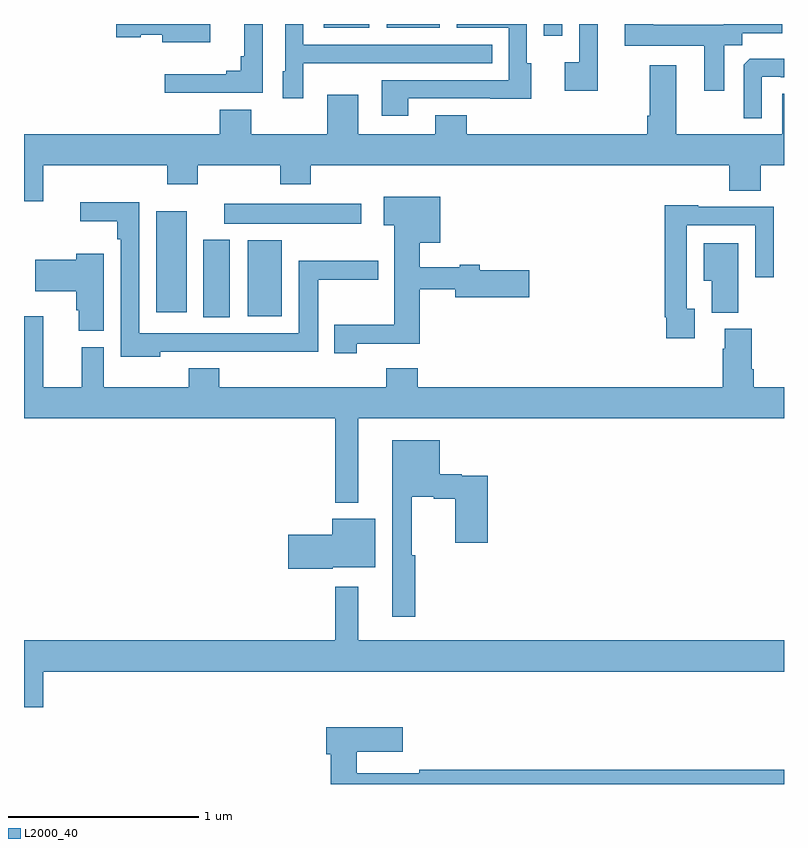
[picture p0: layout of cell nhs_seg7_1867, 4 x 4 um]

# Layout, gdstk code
import gdstk
lib = gdstk.Library(unit=1e-6, precision=1e-09)
def R(c, l, rs):  # rectangles x0, y0, x1, y1
    for r in rs: c.add(gdstk.rectangle(r[:2], r[2:], *l))
def P(c, l, *ps):  # polygons
    for p in ps: c.add(gdstk.Polygon(p, *l))
L2000_40 = (2000, 40)

nhs_seg7_1867 = lib.new_cell('nhs_seg7_1867')
R(nhs_seg7_1867, L2000_40, [(237.944,1026.457,238.084,1026.865), (238.178,1026.461,238.357,1026.862), (237.695,1026.483,237.856,1027.015), (238.053,1026.95,238.774,1027.054), (239.736,1027.938,239.832,1028), (238.577,1027.979,238.816,1028), (238.91,1027.979,239.188,1028)])
P(nhs_seg7_1867, L2000_40, [(237.979,1028),(237.486,1028),(237.486,1027.93),(237.615,1027.93),(237.615,1027.943),(237.728,1027.943),(237.728,1027.904),(237.979,1027.904)],
  [(238.47,1027.793),(238.787,1027.793),(238.787,1027.794),(239.465,1027.794),(239.465,1027.89),(238.47,1027.89),(238.47,1028),(238.374,1028),(238.374,1027.752),(238.361,1027.752),(238.361,1027.608),(238.47,1027.608)],
  [(240.685,1027.888),(240.78,1027.888),(240.78,1027.952),(240.991,1027.952),(240.991,1028),(240.684,1028),(240.684,1027.996),(240.313,1027.996),(240.313,1028),(240.161,1028),(240.161,1027.886),(240.581,1027.886),(240.581,1027.65),(240.685,1027.65)],
  [(238.257,1028),(238.16,1028),(238.16,1027.831),(238.141,1027.831),(238.141,1027.754),(238.064,1027.754),(238.064,1027.735),(237.741,1027.735),(237.741,1027.638),(238.257,1027.638)],
  [(239.023,1027.608),(239.453,1027.608),(239.453,1027.607),(239.671,1027.607),(239.671,1027.794),(239.646,1027.794),(239.646,1028),(239.277,1028),(239.277,1027.98),(239.55,1027.98),(239.55,1027.704),(238.883,1027.704),(238.883,1027.518),(239.023,1027.518)],
  [(240.019,1028),(239.922,1028),(239.922,1027.798),(239.847,1027.798),(239.847,1027.65),(240.019,1027.65)],
  [(240.882,1027.722),(240.982,1027.722),(240.982,1027.719),(241,1027.719),(241,1027.817),(240.821,1027.817),(240.789,1027.785),(240.789,1027.505),(240.882,1027.505)],
  [(237.1,1027.256),(237.755,1027.256),(237.755,1027.157),(237.915,1027.157),(237.915,1027.256),(238.348,1027.256),(238.348,1027.157),(238.508,1027.157),(238.508,1027.256),(240.713,1027.256),(240.713,1027.123),(240.878,1027.123),(240.878,1027.256),(241,1027.256),(241,1027.634),(240.99,1027.634),(240.99,1027.42),(240.433,1027.42),(240.433,1027.783),(240.293,1027.783),(240.293,1027.516),(240.281,1027.516),(240.281,1027.42),(239.329,1027.42),(239.329,1027.519),(239.165,1027.519),(239.165,1027.42),(238.759,1027.42),(238.759,1027.627),(238.595,1027.627),(238.595,1027.42),(238.195,1027.42),(238.195,1027.549),(238.031,1027.549),(238.031,1027.42),(237,1027.42),(237,1027.068),(237.1,1027.068)],
  [(238.752,1026.317),(239.084,1026.317),(239.084,1026.604),(239.27,1026.604),(239.27,1026.562),(239.659,1026.562),(239.659,1026.704),(239.398,1026.704),(239.398,1026.733),(239.294,1026.733),(239.294,1026.72),(239.084,1026.72),(239.084,1026.848),(239.191,1026.848),(239.191,1027.09),(238.893,1027.09),(238.893,1026.941),(238.949,1026.941),(238.949,1026.417),(238.634,1026.417),(238.634,1026.267),(238.752,1026.267)],
  [(237.717,1026.276),(238.111,1026.276),(238.111,1026.275),(238.549,1026.275),(238.549,1026.655),(238.864,1026.655),(238.864,1026.755),(238.445,1026.755),(238.445,1026.372),(237.606,1026.372),(237.606,1027.061),(237.297,1027.061),(237.297,1026.962),(237.49,1026.962),(237.49,1026.866),(237.51,1026.866),(237.51,1026.248),(237.717,1026.248)],
  [(240.529,1026.501),(240.489,1026.501),(240.489,1026.942),(240.849,1026.942),(240.849,1026.666),(240.945,1026.666),(240.945,1027.038),(240.549,1027.038),(240.549,1027.045),(240.373,1027.045),(240.373,1026.457),(240.381,1026.457),(240.381,1026.345),(240.529,1026.345)],
  [(240.76,1026.847),(240.578,1026.847),(240.578,1026.65),(240.62,1026.65),(240.62,1026.481),(240.76,1026.481)],
  [(237.421,1026.79),(237.275,1026.79),(237.275,1026.759),(237.06,1026.759),(237.06,1026.593),(237.275,1026.593),(237.275,1026.494),(237.287,1026.494),(237.287,1026.385),(237.421,1026.385)],
  [(238.759,1025.924),(241,1025.924),(241,1026.088),(240.842,1026.088),(240.842,1026.184),(240.829,1026.184),(240.829,1026.396),(240.689,1026.396),(240.689,1026.29),(240.677,1026.29),(240.677,1026.088),(239.072,1026.088),(239.072,1026.187),(238.907,1026.187),(238.907,1026.088),(238.028,1026.088),(238.028,1026.187),(237.868,1026.187),(237.868,1026.088),(237.421,1026.088),(237.421,1026.3),(237.305,1026.3),(237.305,1026.088),(237.1,1026.088),(237.1,1026.463),(237,1026.463),(237,1025.924),(238.638,1025.924),(238.638,1025.48),(238.759,1025.48)],
  [(239.059,1025.205),(239.041,1025.205),(239.041,1025.513),(239.156,1025.513),(239.156,1025.501),(239.27,1025.501),(239.27,1025.271),(239.441,1025.271),(239.441,1025.623),(239.304,1025.623),(239.304,1025.631),(239.188,1025.631),(239.188,1025.809),(238.937,1025.809),(238.937,1024.881),(239.059,1024.881)],
  [(238.626,1025.141),(238.849,1025.141),(238.849,1025.395),(238.622,1025.395),(238.622,1025.312),(238.392,1025.312),(238.392,1025.134),(238.626,1025.134)],
  [(237.1,1024.592),(241,1024.592),(241,1024.756),(238.759,1024.756),(238.759,1025.038),(238.638,1025.038),(238.638,1024.756),(237,1024.756),(237,1024.404),(237.1,1024.404)],
  [(241,1024.076),(239.08,1024.076),(239.08,1024.056),(238.751,1024.056),(238.751,1024.169),(238.993,1024.169),(238.993,1024.299),(238.592,1024.299),(238.592,1024.157),(238.615,1024.157),(238.615,1024),(241,1024)])

lib.write_gds('nhs_seg7_1867.gds')
